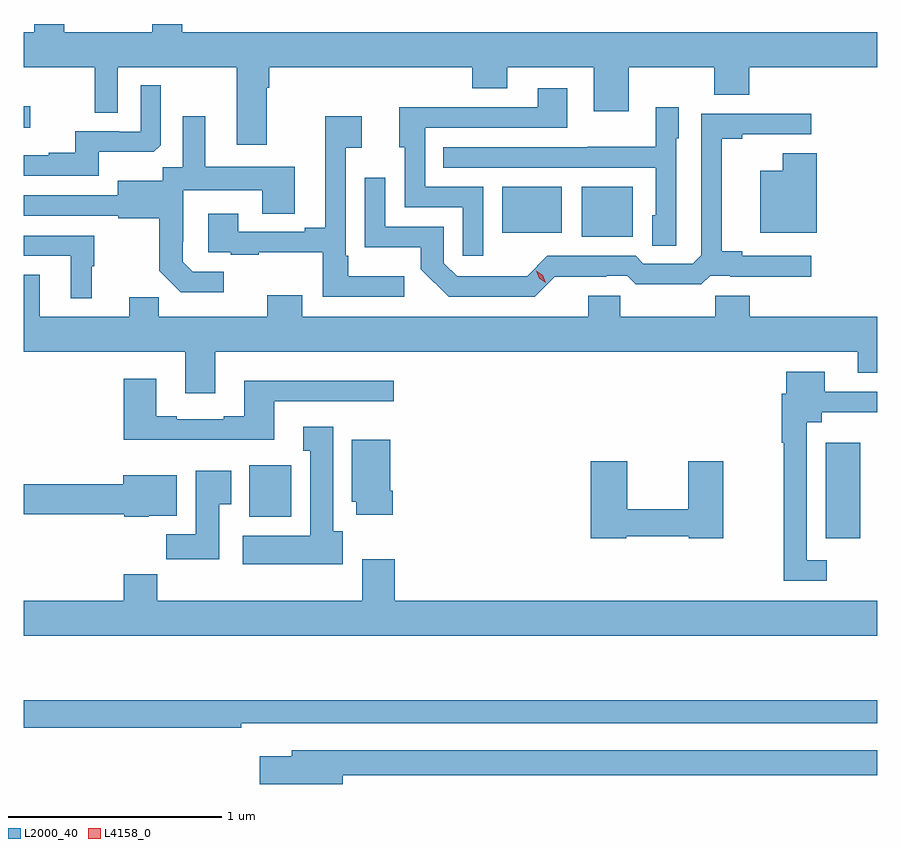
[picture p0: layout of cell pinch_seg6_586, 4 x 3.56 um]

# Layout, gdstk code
import gdstk
lib = gdstk.Library(unit=1e-6, precision=1e-09)
def R(c, l, rs):  # rectangles x0, y0, x1, y1
    for r in rs: c.add(gdstk.rectangle(r[:2], r[2:], *l))
def P(c, l, *ps):  # polygons
    for p in ps: c.add(gdstk.Polygon(p, *l))
L2000_40 = (2000, 40)
L4158_0 = (4158, 0)

pinch_seg6_586 = lib.new_cell('pinch_seg6_586')
R(pinch_seg6_586, L2000_40, [(401.753,969.105,401.914,969.553), (399.053,969.206,399.25,969.448), (400.61,970.517,400.849,970.753), (400.238,970.538,400.516,970.753), (397.995,971.03,398.026,971.129)])
P(pinch_seg6_586, L2000_40, [(399.133,971.216),(399.146,971.216),(399.146,971.312),(400.097,971.312),(400.097,971.213),(400.261,971.213),(400.261,971.312),(400.667,971.312),(400.667,971.106),(400.831,971.106),(400.831,971.312),(401.231,971.312),(401.231,971.184),(401.395,971.184),(401.395,971.312),(401.995,971.312),(401.995,971.476),(398.737,971.476),(398.737,971.515),(398.597,971.515),(398.597,971.476),(398.185,971.476),(398.185,971.515),(398.045,971.515),(398.045,971.476),(397.995,971.476),(397.995,971.312),(398.328,971.312),(398.328,971.098),(398.436,971.098),(398.436,971.312),(398.993,971.312),(398.993,970.95),(399.133,970.95)],
  [(398.347,970.916),(398.605,970.916),(398.637,970.947),(398.637,971.227),(398.544,971.227),(398.544,971.01),(398.444,971.01),(398.444,971.013),(398.237,971.013),(398.237,970.912),(398.113,970.912),(398.113,970.9),(397.995,970.9),(397.995,970.803),(398.347,970.803)],
  [(400.149,970.752),(399.876,970.752),(399.876,971.028),(400.543,971.028),(400.543,971.215),(400.403,971.215),(400.403,971.124),(399.973,971.124),(399.973,971.126),(399.755,971.126),(399.755,970.938),(399.78,970.938),(399.78,970.656),(400.053,970.656),(400.053,970.428),(400.149,970.428)],
  [(401.052,970.98),(401.065,970.98),(401.065,971.125),(400.956,971.125),(400.956,970.939),(400.639,970.939),(400.639,970.938),(399.961,970.938),(399.961,970.842),(400.956,970.842),(400.956,970.62),(400.94,970.62),(400.94,970.477),(401.052,970.477)],
  [(400.484,970.331),(400.724,970.331),(400.724,970.335),(400.824,970.335),(400.864,970.296),(401.171,970.296),(401.211,970.335),(401.305,970.335),(401.305,970.331),(401.686,970.331),(401.686,970.428),(401.362,970.428),(401.362,970.451),(401.267,970.451),(401.267,970.978),(401.362,970.978),(401.362,970.998),(401.686,970.998),(401.686,971.094),(401.169,971.094),(401.169,970.431),(401.13,970.392),(400.899,970.392),(400.863,970.428),(400.449,970.428),(400.355,970.334),(400.25,970.334),(400.25,970.332),(400.026,970.332),(399.963,970.395),(399.963,970.566),(399.69,970.566),(399.69,970.795),(399.594,970.795),(399.594,970.469),(399.856,970.469),(399.856,970.367),(399.986,970.236),(400.389,970.236)],
  [(399.778,970.333),(399.517,970.333),(399.517,970.429),(399.504,970.429),(399.504,970.934),(399.58,970.934),(399.58,971.083),(399.407,971.083),(399.407,970.561),(399.311,970.561),(399.311,970.542),(399.001,970.542),(399.001,970.627),(398.861,970.627),(398.861,970.446),(398.965,970.446),(398.965,970.434),(399.097,970.434),(399.097,970.445),(399.396,970.445),(399.396,970.236),(399.778,970.236)],
  [(398.932,970.353),(398.787,970.353),(398.74,970.4),(398.74,970.495),(398.742,970.495),(398.742,970.736),(399.113,970.736),(399.113,970.627),(399.265,970.627),(399.265,970.846),(398.845,970.846),(398.845,971.083),(398.741,971.083),(398.741,970.844),(398.646,970.844),(398.646,970.78),(398.435,970.78),(398.435,970.713),(397.995,970.713),(397.995,970.617),(398.439,970.617),(398.439,970.605),(398.631,970.605),(398.631,970.359),(398.731,970.259),(398.932,970.259)],
  [(401.71,970.909),(401.552,970.909),(401.552,970.828),(401.447,970.828),(401.447,970.538),(401.71,970.538)],
  [(398.314,970.38),(398.326,970.38),(398.326,970.524),(397.995,970.524),(397.995,970.428),(398.216,970.428),(398.216,970.229),(398.314,970.229)],
  [(398.893,969.98),(401.903,969.98),(401.903,969.881),(401.995,969.881),(401.995,970.144),(401.396,970.144),(401.396,970.242),(401.236,970.242),(401.236,970.144),(400.791,970.144),(400.791,970.242),(400.64,970.242),(400.64,970.144),(399.301,970.144),(399.301,970.243),(399.137,970.243),(399.137,970.144),(398.627,970.144),(398.627,970.235),(398.489,970.235),(398.489,970.144),(398.071,970.144),(398.071,970.339),(397.995,970.339),(397.995,969.98),(398.753,969.98),(398.753,969.786),(398.893,969.786)],
  [(401.758,969.003),(401.664,969.003),(401.664,969.65),(401.734,969.65),(401.734,969.696),(401.995,969.696),(401.995,969.792),(401.749,969.792),(401.749,969.886),(401.567,969.886),(401.567,969.782),(401.548,969.782),(401.548,969.554),(401.556,969.554),(401.556,968.907),(401.758,968.907)],
  [(399.169,969.747),(399.73,969.747),(399.73,969.844),(399.029,969.844),(399.029,969.676),(398.933,969.676),(398.933,969.663),(398.713,969.663),(398.713,969.676),(398.617,969.676),(398.617,969.853),(398.465,969.853),(398.465,969.566),(399.169,969.566)],
  [(399.49,969.138),(399.445,969.138),(399.445,969.628),(399.305,969.628),(399.305,969.515),(399.338,969.515),(399.338,969.118),(399.021,969.118),(399.021,968.984),(399.49,968.984)],
  [(399.725,969.328),(399.712,969.328),(399.712,969.568),(399.533,969.568),(399.533,969.276),(399.554,969.276),(399.554,969.216),(399.725,969.216)],
  [(400.818,969.114),(401.112,969.114),(401.112,969.106),(401.274,969.106),(401.274,969.466),(401.108,969.466),(401.108,969.242),(400.822,969.242),(400.822,969.466),(400.652,969.466),(400.652,969.106),(400.818,969.106)],
  [(398.911,969.265),(398.968,969.265),(398.968,969.421),(398.801,969.421),(398.801,969.124),(398.662,969.124),(398.662,969.006),(398.911,969.006)],
  [(398.58,969.212),(398.713,969.212),(398.713,969.4),(398.462,969.4),(398.462,969.359),(397.995,969.359),(397.995,969.217),(398.466,969.217),(398.466,969.206),(398.58,969.206)],
  [(401.995,968.812),(399.734,968.812),(399.734,969.007),(399.581,969.007),(399.581,968.812),(398.621,968.812),(398.621,968.936),(398.465,968.936),(398.465,968.812),(397.995,968.812),(397.995,968.648),(401.995,968.648)],
  [(399.014,968.238),(401.995,968.238),(401.995,968.347),(397.995,968.347),(397.995,968.218),(399.014,968.218)],
  [(399.49,967.996),(401.995,967.996),(401.995,968.112),(399.251,968.112),(399.251,968.083),(399.102,968.083),(399.102,967.954),(399.49,967.954)])
P(pinch_seg6_586, L4158_0, [(400.442,970.303),(400.411,970.324),(400.396,970.358),(400.396,970.358),(400.396,970.358),(400.427,970.337),(400.442,970.303),(400.442,970.303)])

lib.write_gds('pinch_seg6_586.gds')
